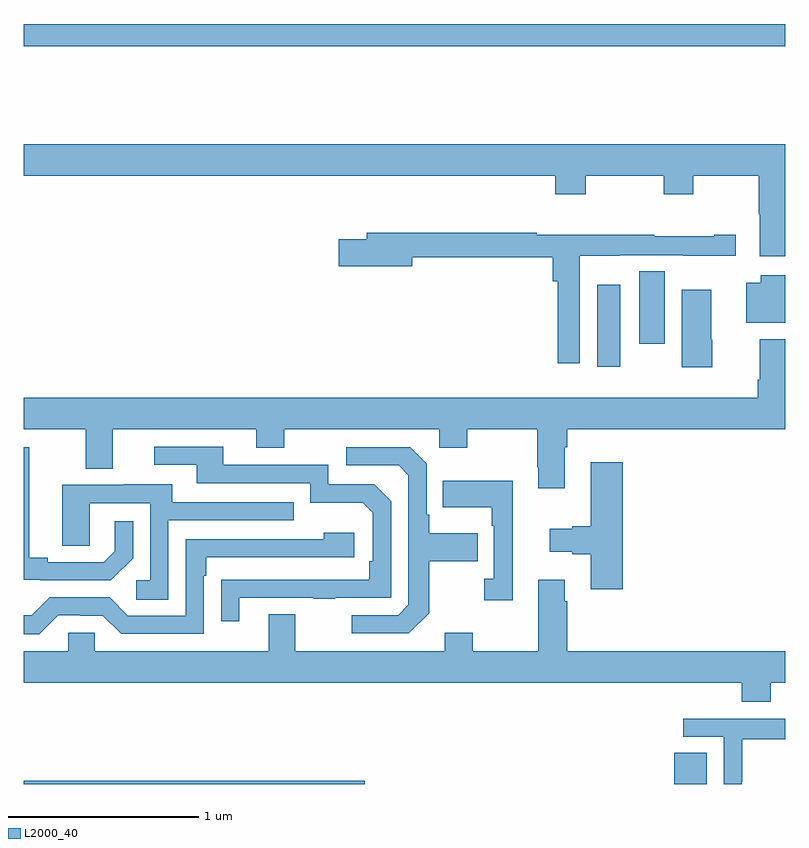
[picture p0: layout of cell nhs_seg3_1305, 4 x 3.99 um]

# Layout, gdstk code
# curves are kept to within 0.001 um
import gdstk
lib = gdstk.Library(unit=1e-6, precision=1e-09)
def R(c, l, rs):  # rectangles x0, y0, x1, y1
    for r in rs: c.add(gdstk.rectangle(r[:2], r[2:], *l))
def P(c, l, *ps):  # polygons
    for p in ps: c.add(gdstk.Polygon(p, *l))
L2000_40 = (2000, 40)

nhs_seg3_1305 = lib.new_cell('nhs_seg3_1305')
R(nhs_seg3_1305, L2000_40, [(179,684.4,180.79,684.416), (182.417,684.4,182.587,684.563), (182.012,686.592,182.134,687.022), (182.234,686.712,182.368,687.092), (179,688.276,183,688.392)])
P(nhs_seg3_1305, L2000_40, [(183,687.76),(179,687.76),(179,687.596),(181.793,687.596),(181.793,687.497),(181.953,687.497),(181.953,687.596),(182.362,687.596),(182.362,687.497),(182.517,687.497),(182.517,687.596),(182.86,687.596),(182.86,687.392),(182.867,687.392),(182.867,687.171),(183,687.171)],
  [(181.92,687.176),(182.13,687.176),(182.13,687.177),(182.464,687.177),(182.464,687.176),(182.74,687.176),(182.74,687.286),(182.627,687.286),(182.627,687.276),(182.312,687.276),(182.312,687.286),(181.896,687.286),(181.896,687.284),(181.694,687.284),(181.694,687.295),(180.803,687.295),(180.803,687.261),(180.654,687.261),(180.654,687.119),(181.042,687.119),(181.042,687.166),(181.778,687.166),(181.778,687.041),(181.804,687.041),(181.804,686.61),(181.92,686.61)],
  [(183,687.073),(182.87,687.073),(182.87,687.034),(182.795,687.034),(182.795,686.822),(183,686.822)],
  [(182.617,686.733),(182.611,686.733),(182.611,686.995),(182.456,686.995),(182.456,686.589),(182.617,686.589)],
  [(181.843,686.168),(181.856,686.168),(181.856,686.264),(183,686.264),(183,686.737),(182.867,686.737),(182.867,686.524),(182.855,686.524),(182.855,686.428),(179,686.428),(179,686.264),(179.327,686.264),(179.327,686.056),(179.467,686.056),(179.467,686.264),(180.221,686.264),(180.221,686.165),(180.369,686.165),(180.369,686.264),(181.182,686.264),(181.182,686.165),(181.329,686.165),(181.329,686.264),(181.696,686.264),(181.696,686.065),(181.703,686.065),(181.703,685.953),(181.843,685.953)],
  [(180.133,685.377),(180.523,685.377),(180.523,685.372),(180.635,685.372),(180.635,685.377),(180.93,685.377),(180.93,685.884),(180.84,685.974),(180.6,685.974),(180.6,686.076),(180.049,686.076),(180.049,686.172),(179.685,686.172),(179.685,686.076),(179.909,686.076),(179.909,685.98),(180.504,685.98),(180.504,685.877),(180.781,685.877),(180.834,685.824),(180.834,685.57),(180.814,685.57),(180.814,685.473),(180.037,685.472),(180.037,685.254),(180.133,685.254)],
  [(181.129,685.297),(181.129,685.57),(181.385,685.57),(181.385,685.717),(181.129,685.717),(181.129,685.813),(181.116,685.813),(181.116,686.082),(181.029,686.169),(180.693,686.169),(180.693,686.073),(180.969,686.073),(181.02,686.022),(181.02,685.341),(180.966,685.287),(180.723,685.287),(180.723,685.191),(181.023,685.191)],
  [(179.574,685.586),(179.574,685.78),(179.477,685.78),(179.477,685.623),(179.42,685.566),(179.125,685.566),(179.125,685.589),(179.029,685.589),(179.029,686.169),(179,686.169),(179,685.473),(179.086,685.473),(179.086,685.47),(179.458,685.47)],
  [(182.147,686.089),(181.979,686.089),(181.979,685.754),(181.88,685.754),(181.88,685.741),(181.764,685.741),(181.764,685.619),(181.88,685.619),(181.88,685.607),(181.979,685.607),(181.979,685.422),(182.147,685.422)],
  [(181.568,685.993),(181.201,685.993),(181.201,685.853),(181.458,685.853),(181.458,685.757),(181.47,685.757),(181.47,685.478),(181.419,685.478),(181.419,685.365),(181.568,685.365)],
  [(179.76,685.785),(180.419,685.785),(180.419,685.881),(179.779,685.881),(179.779,685.975),(179.525,685.975),(179.525,685.971),(179.201,685.971),(179.201,685.651),(179.346,685.651),(179.346,685.875),(179.664,685.875),(179.664,685.47),(179.592,685.47),(179.592,685.369),(179.76,685.369)],
  [(179.181,685.287),(179.297,685.287),(179.297,685.284),(179.415,685.284),(179.511,685.188),(179.946,685.188),(179.946,685.493),(179.959,685.493),(179.959,685.59),(180.736,685.59),(180.736,685.72),(180.575,685.72),(180.575,685.686),(179.85,685.686),(179.85,685.284),(179.547,685.284),(179.451,685.38),(179.136,685.38),(179.043,685.287),(179,685.287),(179,685.187),(179.081,685.187)],
  [(181.843,685.361),(181.843,685.474),(181.703,685.474),(181.703,685.096),(181.359,685.096),(181.359,685.195),(181.211,685.195),(181.211,685.096),(180.427,685.096),(180.427,685.291),(180.287,685.291),(180.287,685.096),(179.373,685.096),(179.373,685.194),(179.235,685.194),(179.235,685.096),(179,685.096),(179,684.932),(182.771,684.932),(182.771,684.833),(182.923,684.833),(182.923,684.932),(183,684.932),(183,685.096),(181.856,685.096),(181.856,685.361)],
  [(182.772,684.412),(182.775,684.412),(182.775,684.636),(183,684.636),(183,684.744),(182.463,684.744),(182.463,684.648),(182.676,684.648),(182.676,684.4),(182.772,684.4)])

lib.write_gds('nhs_seg3_1305.gds')
